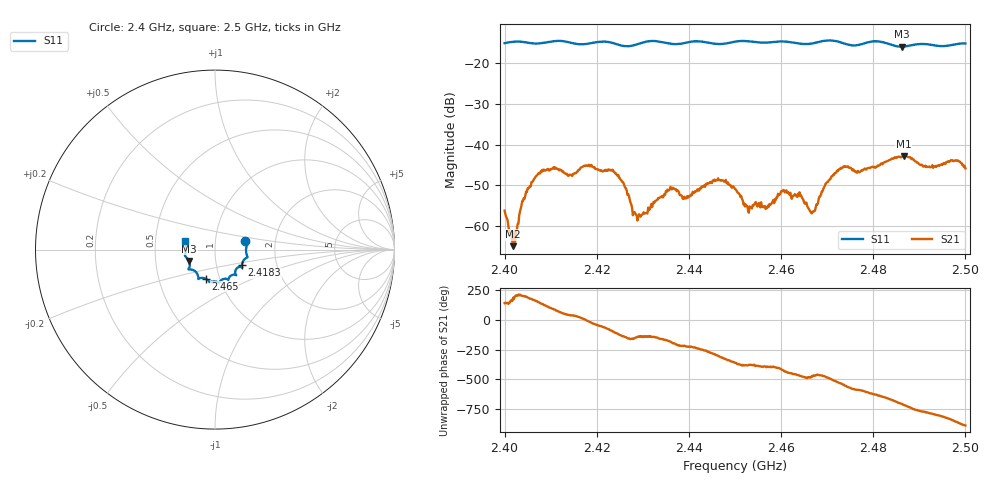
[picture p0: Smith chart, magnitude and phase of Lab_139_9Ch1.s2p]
# Hz S RI R 50
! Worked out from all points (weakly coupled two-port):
!   601 points, 2.4 GHz to 2.5 GHz, reference 50 ohm
!   highest |S21| = -42.78 dB at 2.4867 GHz (marker M1); lowest = -64.9 dB at 2.4018 GHz (marker M2)
!   lowest |S11| = -16.0 dB at 2.4862 GHz (marker M3), VSWR 1.37, Z = 37.1 - j4.83 ohm
!   |S11| at or under -10 dB: start of sweep to end of sweep
!   S12 and S22 are empty: the file has one direction only
!   S11 on the Smith chart (normalised r, x): 2.4 GHz: 1.40, +0.13; 2.4183 GHz: 1.33, -0.24; 2.465 GHz: 0.86, -0.29; 2.5 GHz: 0.71, +0.07
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2.4e9  0.1687 0.0458  -0.00117 0.00102  0 0  0 0
2.401833e9  0.1778 0.037  -0.000567 -4.17e-05  0 0  0 0
2.404167e9  0.1784 0.0255  -0.00211 -0.000663  0 0  0 0
2.407e9  0.1727 -0.00337  -0.00382 0.0017  0 0  0 0
2.416667e9  0.1548 -0.0682  0.00508 0.00136  0 0  0 0
2.418333e9  0.1499 -0.0867  0.00546 -0.00149  0 0  0 0
2.424167e9  0.1412 -0.0962  -0.0016 -0.00413  0 0  0 0
2.429e9  0.1125 -0.1288  -0.00101 -0.000812  0 0  0 0
2.433333e9  0.1166 -0.1412  -0.002 -0.00096  0 0  0 0
2.436333e9  0.0962 -0.1413  -0.00277 0.000579  0 0  0 0
2.439667e9  0.0763 -0.1613  -0.00168 0.00162  0 0  0 0
2.445833e9  0.0545 -0.1624  0.00156 0.00333  0 0  0 0
2.45e9  0.0253 -0.1806  0.00285 -2.23e-05  0 0  0 0
2.453167e9  0.0179 -0.183  0.00166 -0.000557  0 0  0 0
2.460667e9  -0.0298 -0.1807  0.000996 -0.00256  0 0  0 0
2.465e9  -0.0528 -0.1619  -0.000974 -0.00168  0 0  0 0
2.466667e9  -0.0713 -0.1575  -0.000528 -0.00133  0 0  0 0
2.472667e9  -0.0917 -0.1555  -0.00495 -0.000906  0 0  0 0
2.483333e9  -0.1419 -0.0958  0.0033 0.00545  0 0  0 0
2.486167e9  -0.1444 -0.0634  0.00679 0.00198  0 0  0 0
2.486667e9  -0.1476 -0.0584  0.00722 0.000789  0 0  0 0
2.5e9  -0.1666 0.0471  -0.00493 -0.00134  0 0  0 0
